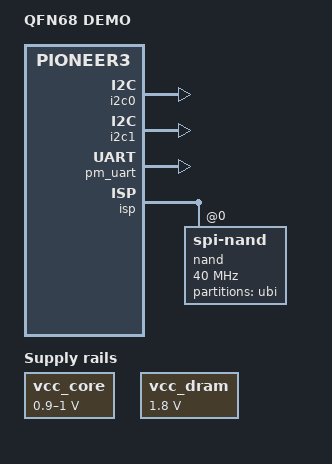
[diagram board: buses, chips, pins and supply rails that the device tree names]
// SPDX-License-Identifier: GPL-2.0
/*
 * Copyright (c) 2019 thingy.jp.
 * Author: Daniel Palmer <daniel@thingy.jp>
 */

/dts-v1/;
#include "mstar-pioneer3-ssd210.dtsi"

/ {
	model = "QFN68 DEMO";
	compatible = "sstar,qfn68demo", "sstar,pioneer3";

	aliases {
		serial0 = &pm_uart;
	};

	chosen {
		stdout-path = "serial0:115200n8";
		bootargs = "console=ttyS0,115200 clk_ignore_unused earlyprintk ubi.mtd=1 ubi.block=0,rootfs root=/dev/ubiblock0_0 rootwait";
	};

	vcc_core: regulator-vcc-core {
		compatible = "regulator-gpio";
		regulator-name = "vcc_core";
		regulator-type = "voltage";
		regulator-min-microvolt = <900000>;
		regulator-max-microvolt = <1000000>;
		regulator-boot-on;
		gpios = <&sar 1 0>;
		states = <1000000 0x1
			  900000  0x0>;
	};

	vcc_dram: regulator-vcc-dram {
		compatible = "regulator-fixed";
		regulator-name = "vcc_dram";
		regulator-min-microvolt = <1800000>;
		regulator-max-microvolt = <1800000>;
		regulator-boot-on;
	};
};

&cpu0 {
	cpu-supply = <&vcc_core>;
};

&i2c0 {
	pinctrl-names = "default";
	pinctrl-0 = <&i2c0_mode4_pins>;
	status = "okay";
};

&i2c1 {
	pinctrl-names = "default";
	pinctrl-0 = <&i2c1_mode1_pins>;
	status = "okay";
};

&pm_uart {
	status = "okay";
};

&miu {
	ddr-supply = <&vcc_dram>;
};

&isp {
	status = "okay";
	nand@0 {
		#address-cells = <1>;
		#size-cells = <1>;
		compatible = "spi-nand";
		reg = <0>;
		spi-max-frequency = <40000000>;
		spi-rx-bus-width = <4>;
		partitions {
			compatible = "fixed-partitions";
			#address-cells = <1>;
			#size-cells = <1>;
			rescue@1000000 {
				label = "ubi";
				reg = <0x1000000 0x7000000>;
			};
		};
	};
};
